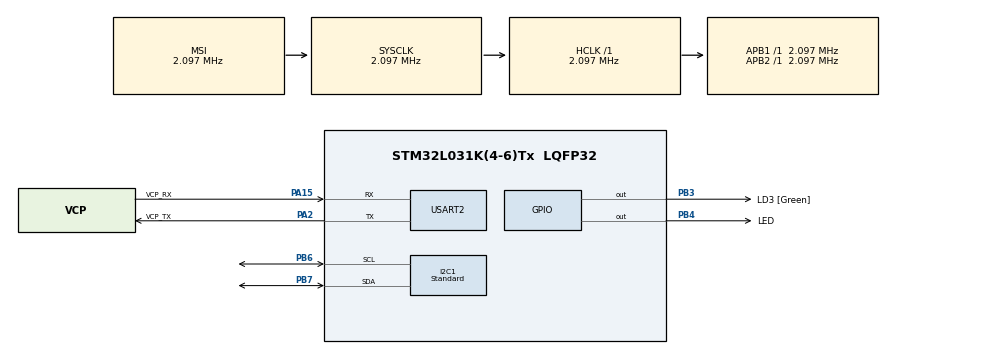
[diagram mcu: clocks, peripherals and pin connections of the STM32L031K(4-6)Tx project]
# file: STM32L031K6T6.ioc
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I2C1.I2C_Speed_Mode=I2C_Standard
I2C1.Timing=0x00000608
Mcu.Family=STM32L0
Mcu.Name=STM32L031K(4-6)Tx
Mcu.Package=LQFP32
NVIC.TIM2_IRQn=true\:0\:0\:false\:false\:true\:true\:true\:true
PA13.GPIO_Label=TMS
PA13.Mode=Serial_Wire
PA13.Signal=SYS_SWDIO
PA14.GPIO_Label=TCK
PA14.Mode=Serial_Wire
PA14.Signal=SYS_SWCLK
PA15.GPIO_Label=VCP_RX
PA15.Mode=Asynchronous
PA15.Signal=USART2_RX
PA2.GPIO_Label=VCP_TX
PA2.Mode=Asynchronous
PA2.Signal=USART2_TX
PB3.GPIO_Label=LD3 [Green]
PB3.Signal=GPIO_Output
PB4.GPIO_Label=LED
PB4.Signal=GPIO_Output
PB6.GPIO_Pu=GPIO_PULLUP
PB6.Mode=I2C
PB6.Signal=I2C1_SCL
PB7.GPIO_Pu=GPIO_PULLUP
PB7.Mode=I2C
PB7.Signal=I2C1_SDA
ProjectManager.HeapSize=0x200
ProjectManager.StackSize=0x400
ProjectManager.TargetToolchain=STM32CubeIDE
RCC.AHBFreq_Value=2097000
RCC.APB1Freq_Value=2097000
RCC.APB1TimFreq_Value=2097000
RCC.APB2Freq_Value=2097000
RCC.APB2TimFreq_Value=2097000
RCC.HCLKFreq_Value=2097000
RCC.HSE_VALUE=8000000
RCC.HSI16_VALUE=16000000
RCC.HSI48_VALUE=48000000
RCC.HSI_VALUE=16000000
RCC.LSE_VALUE=32768
RCC.MSI_VALUE=2097000
RCC.PLLMUL=RCC_PLLMUL_4
RCC.SYSCLKFreq_VALUE=2097000
RCC.VCOOutputFreq_Value=64000000
TIM2.Period=999
TIM2.Prescaler=2096
USART2.VirtualMode-Asynchronous=VM_ASYNC
VP_TIM2_VS_ClockSourceINT.Mode=Internal
board=NUCLEO-L031K6

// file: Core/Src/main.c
/* USER CODE BEGIN Header */
/**
 ******************************************************************************
 * @file           : main.c
 * @brief          : Main program body
 ******************************************************************************
 * @attention
 *
 * Copyright (c) 2024 STMicroelectronics.
 * All rights reserved.
 *
 * This software is licensed under terms that can be found in the LICENSE file
 * in the root directory of this software component.
 * If no LICENSE file comes with this software, it is provided AS-IS.
 *
 ******************************************************************************
 */
/* USER CODE END Header */
#include "main.h"
#include "veml6030.h"

I2C_HandleTypeDef hi2c1;

TIM_HandleTypeDef htim2;

UART_HandleTypeDef huart2;

/* USER CODE BEGIN PV */
uint16_t ambient_light = 0;
uint16_t data = 0;
/* USER CODE END PV */

void SystemClock_Config(void);
static void MX_GPIO_Init(void);
static void MX_USART2_UART_Init(void);
static void MX_TIM2_Init(void);
static void MX_I2C1_Init(void);

/* USER CODE BEGIN 0 */
#ifdef __GNUC__
/* With GCC/RAISONANCE, small printf (option LD Linker->Libraries->Small printf
 set to 'Yes') calls __io_putchar() */
#define PUTCHAR_PROTOTYPE int __io_putchar(int ch)
#else
#define PUTCHAR_PROTOTYPE int fputc(int ch, FILE *f)
#endif /* __GNUC__ */

PUTCHAR_PROTOTYPE
{
	HAL_UART_Transmit(&huart2, (uint8_t*) &ch, 1, 0xFFFF);

	return ch;
}

// Task 3 (LED Blinky (timer)) an Task 4 (VEML6030 Light sensor)
void HAL_TIM_PeriodElapsedCallback(TIM_HandleTypeDef *htim)
{
	// Task 3
	if (htim->Instance == TIM2)
	{
		HAL_GPIO_TogglePin(LED_GPIO_Port, LED_Pin);
	}

	// Task 4
	if (htim->Instance == TIM2)
	{
		ambient_light = VEML6030_ReadALS(&hi2c1);
		printf("Ambient Light Level: %u lx\n", ambient_light);
		data = VEML6030_ReadRegister(&hi2c1, VEML6030_WHITE_DATA);
		printf("White Light Level: %u\n", data);
	}
}

/* USER CODE END 0 */

int main(void)
{

	/* MCU Configuration--------------------------------------------------------*/

	/* Reset of all peripherals, Initializes the Flash interface and the Systick. */
	HAL_Init();

	/* Configure the system clock */
	SystemClock_Config();

	/* Initialize all configured peripherals */
	MX_GPIO_Init();
	MX_USART2_UART_Init();
	MX_TIM2_Init();
	MX_I2C1_Init();
	/* USER CODE BEGIN 2 */

	HAL_TIM_Base_Start_IT(&htim2); // Handle TIM2 interrupt and clear interrupt flags (Task 3)

	VEML6030_Init(&hi2c1);

	printf("HAL init complete \n");
	/* USER CODE END 2 */

	/* Infinite loop */
	while (1)
	{

		/* USER CODE BEGIN 3 */
		/* Task 2 (LED Blinking)
		 printf("Hello from infinite loop \n");
		 HAL_GPIO_TogglePin(LED_GPIO_Port, LED_Pin);
		 HAL_Delay(1000);
		 */
	}
	/* USER CODE END 3 */
}

void SystemClock_Config(void)
{
	RCC_OscInitTypeDef RCC_OscInitStruct =
	{ 0 };
	RCC_ClkInitTypeDef RCC_ClkInitStruct =
	{ 0 };
	RCC_PeriphCLKInitTypeDef PeriphClkInit =
	{ 0 };

	/** Configure the main internal regulator output voltage
	 */
	__HAL_PWR_VOLTAGESCALING_CONFIG(PWR_REGULATOR_VOLTAGE_SCALE1);

	/** Initializes the RCC Oscillators according to the specified parameters
	 * in the RCC_OscInitTypeDef structure.
	 */
	RCC_OscInitStruct.OscillatorType = RCC_OSCILLATORTYPE_MSI;
	RCC_OscInitStruct.MSIState = RCC_MSI_ON;
	RCC_OscInitStruct.MSICalibrationValue = 0;
	RCC_OscInitStruct.MSIClockRange = RCC_MSIRANGE_5;
	RCC_OscInitStruct.PLL.PLLState = RCC_PLL_NONE;
	if (HAL_RCC_OscConfig(&RCC_OscInitStruct) != HAL_OK)
	{
		Error_Handler();
	}

	/** Initializes the CPU, AHB and APB buses clocks
	 */
	RCC_ClkInitStruct.ClockType = RCC_CLOCKTYPE_HCLK | RCC_CLOCKTYPE_SYSCLK | RCC_CLOCKTYPE_PCLK1 | RCC_CLOCKTYPE_PCLK2;
	RCC_ClkInitStruct.SYSCLKSource = RCC_SYSCLKSOURCE_MSI;
	RCC_ClkInitStruct.AHBCLKDivider = RCC_SYSCLK_DIV1;
	RCC_ClkInitStruct.APB1CLKDivider = RCC_HCLK_DIV1;
	RCC_ClkInitStruct.APB2CLKDivider = RCC_HCLK_DIV1;

	if (HAL_RCC_ClockConfig(&RCC_ClkInitStruct, FLASH_LATENCY_0) != HAL_OK)
	{
		Error_Handler();
	}
	PeriphClkInit.PeriphClockSelection = RCC_PERIPHCLK_USART2 | RCC_PERIPHCLK_I2C1;
	PeriphClkInit.Usart2ClockSelection = RCC_USART2CLKSOURCE_PCLK1;
	PeriphClkInit.I2c1ClockSelection = RCC_I2C1CLKSOURCE_PCLK1;
	if (HAL_RCCEx_PeriphCLKConfig(&PeriphClkInit) != HAL_OK)
	{
		Error_Handler();
	}
}

static void MX_I2C1_Init(void)
{

	hi2c1.Instance = I2C1;
	hi2c1.Init.Timing = 0x00000608;
	hi2c1.Init.OwnAddress1 = 0;
	hi2c1.Init.AddressingMode = I2C_ADDRESSINGMODE_7BIT;
	hi2c1.Init.DualAddressMode = I2C_DUALADDRESS_DISABLE;
	hi2c1.Init.OwnAddress2 = 0;
	hi2c1.Init.OwnAddress2Masks = I2C_OA2_NOMASK;
	hi2c1.Init.GeneralCallMode = I2C_GENERALCALL_DISABLE;
	hi2c1.Init.NoStretchMode = I2C_NOSTRETCH_DISABLE;
	if (HAL_I2C_Init(&hi2c1) != HAL_OK)
	{
		Error_Handler();
	}

	/** Configure Analogue filter
	 */
	if (HAL_I2CEx_ConfigAnalogFilter(&hi2c1, I2C_ANALOGFILTER_ENABLE) != HAL_OK)
	{
		Error_Handler();
	}

	/** Configure Digital filter
	 */
	if (HAL_I2CEx_ConfigDigitalFilter(&hi2c1, 0) != HAL_OK)
	{
		Error_Handler();
	}

}

static void MX_TIM2_Init(void)
{

	TIM_ClockConfigTypeDef sClockSourceConfig =
	{ 0 };
	TIM_MasterConfigTypeDef sMasterConfig =
	{ 0 };

	htim2.Instance = TIM2;
	htim2.Init.Prescaler = 2096;
	htim2.Init.CounterMode = TIM_COUNTERMODE_UP;
	htim2.Init.Period = 999;
	htim2.Init.ClockDivision = TIM_CLOCKDIVISION_DIV1;
	htim2.Init.AutoReloadPreload = TIM_AUTORELOAD_PRELOAD_DISABLE;
	if (HAL_TIM_Base_Init(&htim2) != HAL_OK)
	{
		Error_Handler();
	}
	sClockSourceConfig.ClockSource = TIM_CLOCKSOURCE_INTERNAL;
	if (HAL_TIM_ConfigClockSource(&htim2, &sClockSourceConfig) != HAL_OK)
	{
		Error_Handler();
	}
	sMasterConfig.MasterOutputTrigger = TIM_TRGO_RESET;
	sMasterConfig.MasterSlaveMode = TIM_MASTERSLAVEMODE_DISABLE;
	if (HAL_TIMEx_MasterConfigSynchronization(&htim2, &sMasterConfig) != HAL_OK)
	{
		Error_Handler();
	}

}

static void MX_USART2_UART_Init(void)
{

	huart2.Instance = USART2;
	huart2.Init.BaudRate = 115200;
	huart2.Init.WordLength = UART_WORDLENGTH_8B;
	huart2.Init.StopBits = UART_STOPBITS_1;
	huart2.Init.Parity = UART_PARITY_NONE;
	huart2.Init.Mode = UART_MODE_TX_RX;
	huart2.Init.HwFlowCtl = UART_HWCONTROL_NONE;
	huart2.Init.OverSampling = UART_OVERSAMPLING_16;
	huart2.Init.OneBitSampling = UART_ONE_BIT_SAMPLE_DISABLE;
	huart2.AdvancedInit.AdvFeatureInit = UART_ADVFEATURE_NO_INIT;
	if (HAL_UART_Init(&huart2) != HAL_OK)
	{
		Error_Handler();
	}

}

static void MX_GPIO_Init(void)
{
	GPIO_InitTypeDef GPIO_InitStruct =
	{ 0 };

	/* GPIO Ports Clock Enable */
	__HAL_RCC_GPIOA_CLK_ENABLE();
	__HAL_RCC_GPIOB_CLK_ENABLE();

	/*Configure GPIO pin Output Level */
	HAL_GPIO_WritePin(GPIOB, LD3_Pin | LED_Pin, GPIO_PIN_RESET);

	/*Configure GPIO pins : LD3_Pin LED_Pin */
	GPIO_InitStruct.Pin = LD3_Pin | LED_Pin;
	GPIO_InitStruct.Mode = GPIO_MODE_OUTPUT_PP;
	GPIO_InitStruct.Pull = GPIO_NOPULL;
	GPIO_InitStruct.Speed = GPIO_SPEED_FREQ_LOW;
	HAL_GPIO_Init(GPIOB, &GPIO_InitStruct);

}

void Error_Handler(void)
{
	__disable_irq();
	while (1)
	{
	}
}
